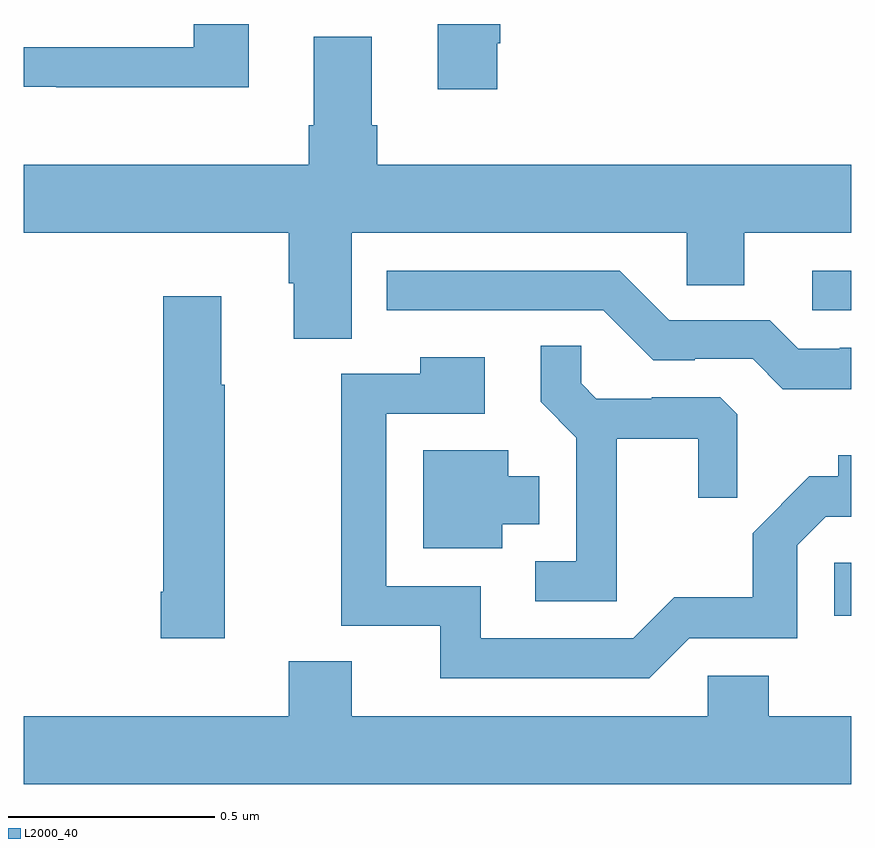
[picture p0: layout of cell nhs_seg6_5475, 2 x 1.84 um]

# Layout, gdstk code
import gdstk
lib = gdstk.Library(unit=1e-6, precision=1e-09)
def R(c, l, rs):  # rectangles x0, y0, x1, y1
    for r in rs: c.add(gdstk.rectangle(r[:2], r[2:], *l))
def P(c, l, *ps):  # polygons
    for p in ps: c.add(gdstk.Polygon(p, *l))
L2000_40 = (2000, 40)

nhs_seg6_5475 = lib.new_cell('nhs_seg6_5475')
R(nhs_seg6_5475, L2000_40, [(184.959,953.07,185,953.199), (184.905,953.808,185,953.904)])
P(nhs_seg6_5475, L2000_40, [(183.544,954.5),(183.411,954.5),(183.411,954.444),(183,954.444),(183,954.348),(183.079,954.348),(183.079,954.347),(183.544,954.347)],
  [(184.144,954.454),(184.151,954.454),(184.151,954.5),(184.001,954.5),(184.001,954.342),(184.144,954.342)],
  [(183.793,953.996),(184.602,953.996),(184.602,953.869),(184.741,953.869),(184.741,953.996),(185,953.996),(185,954.16),(183.854,954.16),(183.854,954.256),(183.841,954.256),(183.841,954.469),(183.701,954.469),(183.701,954.256),(183.689,954.256),(183.689,954.16),(183,954.16),(183,953.996),(183.641,953.996),(183.641,953.874),(183.653,953.874),(183.653,953.74),(183.793,953.74)],
  [(185,953.718),(184.972,953.718),(184.972,953.715),(184.872,953.715),(184.803,953.784),(184.56,953.784),(184.44,953.904),(183.878,953.904),(183.878,953.808),(184.401,953.808),(184.521,953.688),(184.622,953.688),(184.622,953.691),(184.761,953.691),(184.834,953.618),(185,953.618)],
  [(183.486,953.629),(183.478,953.629),(183.478,953.842),(183.337,953.842),(183.337,953.128),(183.332,953.128),(183.332,953.016),(183.486,953.016)],
  [(184.433,953.498),(184.63,953.498),(184.63,953.355),(184.724,953.355),(184.724,953.557),(184.683,953.598),(184.518,953.598),(184.518,953.595),(184.384,953.595),(184.347,953.632),(184.347,953.723),(184.249,953.723),(184.249,953.587),(184.335,953.501),(184.335,953.202),(184.236,953.202),(184.236,953.106),(184.433,953.106)],
  [(184.608,953.016),(184.869,953.016),(184.869,953.241),(184.938,953.31),(185,953.31),(185,953.458),(184.968,953.458),(184.968,953.408),(184.898,953.408),(184.761,953.27),(184.761,953.115),(184.572,953.115),(184.473,953.016),(184.105,953.016),(184.105,953.142),(183.876,953.142),(183.876,953.559),(184.114,953.559),(184.114,953.695),(183.958,953.695),(183.958,953.655),(183.768,953.655),(183.768,953.046),(184.007,953.046),(184.007,952.92),(184.512,952.92)],
  [(184.156,953.291),(184.246,953.291),(184.246,953.407),(184.171,953.407),(184.171,953.47),(183.965,953.47),(183.965,953.234),(184.156,953.234)],
  [(185,952.828),(184.8,952.828),(184.8,952.926),(184.653,952.926),(184.653,952.828),(183.793,952.828),(183.793,952.961),(183.641,952.961),(183.641,952.828),(183,952.828),(183,952.664),(185,952.664)])

lib.write_gds('nhs_seg6_5475.gds')
